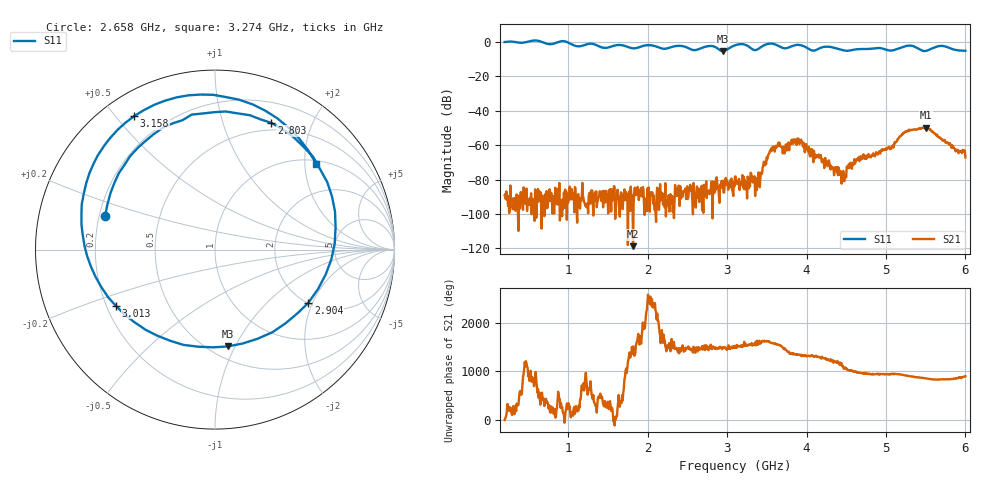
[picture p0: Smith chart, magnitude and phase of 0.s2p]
! NanoVNA-App
! Date: 2024-06-25 16:03:50
! Start: 200MHz Stop: 6GHz Points: 801
! S-Parameter data: F S11 S21 S12 S22
# Hz S RI R 50
!  Frequency  S11_Real  S11_Imag  S21_Real  S21_Imag  S12_Real  S12_Imag  S22_Real  S22_Imag
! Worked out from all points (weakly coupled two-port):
!   801 points, 200 MHz to 6 GHz, reference 50 ohm
!   highest |S21| = -49.74 dB at 5.507 GHz (marker M1); lowest = -118.8 dB at 1.817 GHz (marker M2)
!   lowest |S11| = -5.3 dB at 2.948 GHz (marker M3), VSWR 3.39, Z = 30.4 - j46.7 ohm
!   |S11| at or under -10 dB: nowhere
!   S12 and S22 are empty: the file has one direction only
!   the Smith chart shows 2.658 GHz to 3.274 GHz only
!   S11 on the Smith chart (normalised r, x): 2.658 GHz: 0.22, +0.14; 2.803 GHz: 0.42, +1.46; 2.904 GHz: 2.02, -1.86; 3.013 GHz: 0.24, -0.25; 3.158 GHz: 0.09, +0.56; 3.274 GHz: 1.09, +2.29
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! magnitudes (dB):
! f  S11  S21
! 200 MHz  0.0  -89.2
! 1.171 GHz  -2.2  -89.6
! 1.817 GHz  -3.6  -118.8
! 2.136 GHz  -3.0  -95.0
! 2.658 GHz  -3.9  -88.8
! 2.803 GHz  -2.2  -81.4
! 2.904 GHz  -4.5  -93.6
! 2.948 GHz  -5.3  -80.7
! 3.013 GHz  -3.9  -86.0
! 3.1 GHz  -1.9  -78.2
! 3.158 GHz  -1.2  -86.1
! 3.274 GHz  -2.6  -85.1
! 3.405 GHz  -3.6  -83.5
! 3.636 GHz  -2.0  -60.6
! 3.912 GHz  -1.7  -59.4
! 4.072 GHz  -4.9  -62.5
! 4.47 GHz  -4.8  -80.4
! 4.652 GHz  -4.1  -67.3
! 5.036 GHz  -4.8  -60.9
! 5.261 GHz  -2.2  -52.1
! 5.507 GHz  -5.1  -49.7
! 6 GHz  -5.0  -67.1
